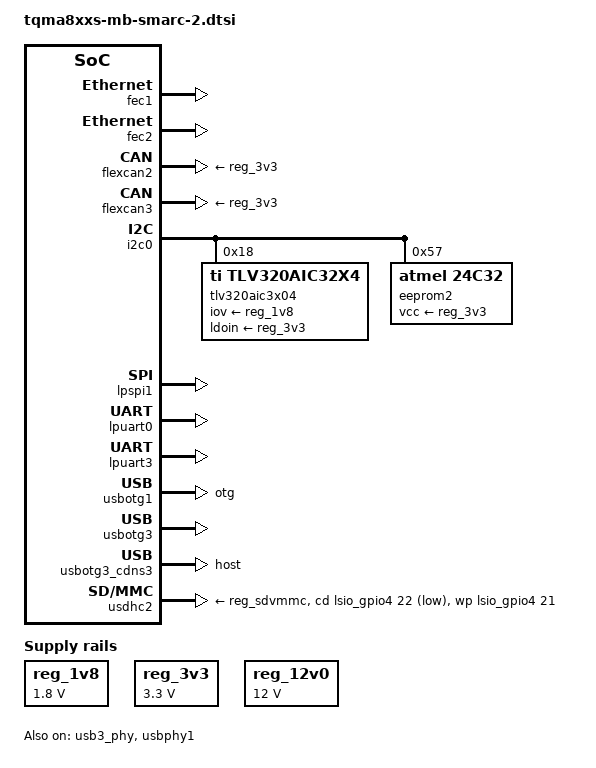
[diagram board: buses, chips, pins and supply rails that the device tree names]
// SPDX-License-Identifier: (GPL-2.0-or-later OR MIT)
/*
 * Copyright (c) 2018-2025 TQ-Systems GmbH <linux@ew.tq-group.com>,
 * D-82229 Seefeld, Germany.
 * Author: Alexander Stein
 */

/ {
	aliases {
		rtc0 = &rtc1;
		rtc1 = &rtc;
	};

	backlight_lvds0: backlight-lvds0 {
		compatible = "pwm-backlight";
		pinctrl-names = "default";
		pinctrl-0 = <&pinctrl_backlight_lvds0>;
		/* PWM support still missing */
		brightness-levels = <0 4 8 16 32 64 128 255>;
		default-brightness-level = <7>;
		power-supply = <&reg_12v0>;
		enable-gpios = <&lsio_gpio1 2 GPIO_ACTIVE_HIGH>;
		status = "disabled";
	};

	backlight_lvds1: backlight-lvds1 {
		compatible = "pwm-backlight";
		pinctrl-names = "default";
		pinctrl-0 = <&pinctrl_backlight_lvds1>;
		/* PWM support still missing */
		brightness-levels = <0 4 8 16 32 64 128 255>;
		default-brightness-level = <7>;
		power-supply = <&reg_12v0>;
		enable-gpios = <&lsio_gpio1 0 GPIO_ACTIVE_HIGH>;
		status = "disabled";
	};

	chosen {
		stdout-path = &lpuart0;
	};

	panel_lvds0: panel-lvds0 {
		/*
		 * Display is not fixed, so compatible has to be added from
		 * DT
		 */
		backlight = <&backlight_lvds0>;
		power-supply = <&reg_lvds0>;
		status = "disabled";

		port {
			panel_in_lvds0: endpoint {
			};
		};
	};

	panel_lvds1: panel-lvds1 {
		/*
		 * Display is not fixed, so compatible has to be added from
		 * DT
		 */
		backlight = <&backlight_lvds1>;
		power-supply = <&reg_lvds1>;
		status = "disabled";

		port {
			panel_in_lvds1: endpoint {
			};
		};
	};

	reg_1v8: regulator-1v8 {
		compatible = "regulator-fixed";
		regulator-name = "1V8";
		regulator-min-microvolt = <1800000>;
		regulator-max-microvolt = <1800000>;
		regulator-always-on;
	};

	reg_3v3: regulator-3v3 {
		compatible = "regulator-fixed";
		regulator-name = "3V3";
		regulator-min-microvolt = <3300000>;
		regulator-max-microvolt = <3300000>;
		regulator-always-on;
	};

	reg_12v0: regulator-12v0 {
		compatible = "regulator-fixed";
		regulator-name = "12V0";
		regulator-min-microvolt = <12000000>;
		regulator-max-microvolt = <12000000>;
		regulator-always-on;
	};

	sound {
		compatible = "fsl,imx-audio-tlv320aic32x4";
		model = "tqm-tlv320aic32";
		ssi-controller = <&sai1>;
		audio-codec = <&tlv320aic3x04>;
	};
};

&fec1 {
	status = "okay";
};

&fec2 {
	status = "okay";
};

&flexcan2 {
	xceiver-supply = <&reg_3v3>;
	status = "okay";
};

&flexcan3 {
	xceiver-supply = <&reg_3v3>;
	status = "okay";
};

&i2c0 {
	tlv320aic3x04: audio-codec@18 {
		compatible = "ti,tlv320aic32x4";
		reg = <0x18>;
		clocks = <&mclkout0_lpcg 0>;
		clock-names = "mclk";
		iov-supply = <&reg_1v8>;
		ldoin-supply = <&reg_3v3>;
	};

	eeprom2: eeprom@57 {
		compatible = "atmel,24c32";
		reg = <0x57>;
		pagesize = <32>;
		vcc-supply = <&reg_3v3>;
	};
};

&lpspi1 {
	status = "okay";
};

&lpuart0 {
	status = "okay";
};

&lpuart3 {
	status = "okay";
};

&reg_sdvmmc {
	off-on-delay-us = <200000>;
	status = "okay";
};

&usbotg1 {
	pinctrl-names = "default";
	pinctrl-0 = <&pinctrl_usbotg1>;
	srp-disable;
	hnp-disable;
	adp-disable;
	power-active-high;
	over-current-active-low;
	dr_mode = "otg";
	status = "okay";
};

&usbotg3 {
	status = "okay";
};

&usbotg3_cdns3 {
	dr_mode = "host";
	status = "okay";
};

&usb3_phy {
	status = "okay";
};

&usbphy1 {
	status = "okay";
};

&usdhc2 {
	cd-gpios = <&lsio_gpio4 22 GPIO_ACTIVE_LOW>;
	wp-gpios = <&lsio_gpio4 21 GPIO_ACTIVE_HIGH>;
	vmmc-supply = <&reg_sdvmmc>;
	no-1-8-v;
	no-mmc;
	no-sdio;
	status = "okay";
};
